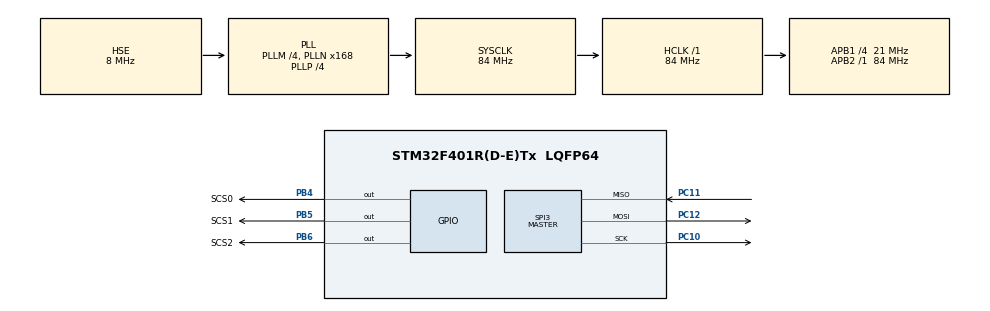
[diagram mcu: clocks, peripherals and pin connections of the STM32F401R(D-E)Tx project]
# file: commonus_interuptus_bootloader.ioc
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Dma.Request0=SPI3_TX
Dma.Request1=SPI3_RX
Dma.SPI3_RX.1.Direction=DMA_PERIPH_TO_MEMORY
Dma.SPI3_RX.1.FIFOMode=DMA_FIFOMODE_DISABLE
Dma.SPI3_RX.1.Instance=DMA1_Stream0
Dma.SPI3_RX.1.MemDataAlignment=DMA_MDATAALIGN_BYTE
Dma.SPI3_RX.1.MemInc=DMA_MINC_ENABLE
Dma.SPI3_RX.1.Mode=DMA_NORMAL
Dma.SPI3_RX.1.PeriphDataAlignment=DMA_PDATAALIGN_BYTE
Dma.SPI3_RX.1.PeriphInc=DMA_PINC_DISABLE
Dma.SPI3_RX.1.Priority=DMA_PRIORITY_LOW
Dma.SPI3_TX.0.Direction=DMA_MEMORY_TO_PERIPH
Dma.SPI3_TX.0.FIFOMode=DMA_FIFOMODE_DISABLE
Dma.SPI3_TX.0.Instance=DMA1_Stream5
Dma.SPI3_TX.0.MemDataAlignment=DMA_MDATAALIGN_BYTE
Dma.SPI3_TX.0.MemInc=DMA_MINC_ENABLE
Dma.SPI3_TX.0.Mode=DMA_NORMAL
Dma.SPI3_TX.0.PeriphDataAlignment=DMA_PDATAALIGN_BYTE
Dma.SPI3_TX.0.PeriphInc=DMA_PINC_DISABLE
Dma.SPI3_TX.0.Priority=DMA_PRIORITY_LOW
IWDG.Prescaler=IWDG_PRESCALER_64
Mcu.Family=STM32F4
Mcu.Name=STM32F401R(D-E)Tx
Mcu.Package=LQFP64
NVIC.DMA1_Stream0_IRQn=true\:0\:0\:false\:false\:true\:false
NVIC.DMA1_Stream5_IRQn=true\:0\:0\:false\:false\:true\:false
NVIC.PriorityGroup=NVIC_PRIORITYGROUP_4
PA13.Mode=Trace_Asynchronous_SW
PA13.Signal=SYS_JTMS-SWDIO
PA14.Mode=Trace_Asynchronous_SW
PA14.Signal=SYS_JTCK-SWCLK
PB3.Mode=Trace_Asynchronous_SW
PB3.Signal=SYS_JTDO-SWO
PB4.GPIO_Label=SCS0
PB4.PinState=GPIO_PIN_SET
PB4.Signal=GPIO_Output
PB5.GPIO_Label=SCS1
PB5.PinState=GPIO_PIN_SET
PB5.Signal=GPIO_Output
PB6.GPIO_Label=SCS2
PB6.PinState=GPIO_PIN_SET
PB6.Signal=GPIO_Output
PC10.Mode=Full_Duplex_Master
PC10.Signal=SPI3_SCK
PC11.Mode=Full_Duplex_Master
PC11.Signal=SPI3_MISO
PC12.Mode=Full_Duplex_Master
PC12.Signal=SPI3_MOSI
PC14-OSC32_IN.Mode=LSE-External-Oscillator
PC14-OSC32_IN.Signal=RCC_OSC32_IN
PC15-OSC32_OUT.Mode=LSE-External-Oscillator
PC15-OSC32_OUT.Signal=RCC_OSC32_OUT
PH0\ -\ OSC_IN.Mode=HSE-External-Oscillator
PH0\ -\ OSC_IN.Signal=RCC_OSC_IN
PH1\ -\ OSC_OUT.Mode=HSE-External-Oscillator
PH1\ -\ OSC_OUT.Signal=RCC_OSC_OUT
ProjectManager.HeapSize=0x200
ProjectManager.StackSize=0x400
ProjectManager.TargetToolchain=MDK-ARM V5
RCC.48MHZClocksFreq_Value=48000000
RCC.AHBFreq_Value=84000000
RCC.APB1CLKDivider=RCC_HCLK_DIV4
RCC.APB1Freq_Value=21000000
RCC.APB1TimFreq_Value=42000000
RCC.APB2Freq_Value=84000000
RCC.APB2TimFreq_Value=84000000
RCC.CortexFreq_Value=84000000
RCC.HCLKFreq_Value=84000000
RCC.HSE_VALUE=8000000
RCC.HSI_VALUE=16000000
RCC.PLLM=4
RCC.PLLN=168
RCC.PLLP=RCC_PLLP_DIV4
RCC.PLLQ=7
RCC.PLLSourceVirtual=RCC_PLLSOURCE_HSE
RCC.RCC_RTC_Clock_Source=RCC_RTCCLKSOURCE_LSE
RCC.RCC_RTC_Clock_SourceVirtual=RCC_RTCCLKSOURCE_LSE
RCC.SYSCLKFreq_VALUE=84000000
RCC.SYSCLKSource=RCC_SYSCLKSOURCE_PLLCLK
RCC.VCOOutputFreq_Value=336000000
SPI3.BaudRatePrescaler=SPI_BAUDRATEPRESCALER_16
SPI3.CRCCalculation=SPI_CRCCALCULATION_DISABLE
SPI3.Direction=SPI_DIRECTION_2LINES
SPI3.Mode=SPI_MODE_MASTER
SPI3.VirtualType=VM_MASTER
VP_IWDG_VS_IWDG.Mode=IWDG_Activate
VP_RTC_VS_RTC_Activate.Mode=RTC_Enabled
board=commonus_interuptus_bootloader

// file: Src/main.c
/**
  ******************************************************************************
  * @file           : main.c
  * @brief          : Main program body
  ******************************************************************************
  ** This notice applies to any and all portions of this file
  * that are not between comment pairs USER CODE BEGIN and
  * USER CODE END. Other portions of this file, whether
  * inserted by the user or by software development tools
  * are owned by their respective copyright owners.
  *
  * COPYRIGHT(c) 2020 STMicroelectronics
  *
  * Redistribution and use in source and binary forms, with or without modification,
  * are permitted provided that the following conditions are met:
  *   1. Redistributions of source code must retain the above copyright notice,
  *      this list of conditions and the following disclaimer.
  *   2. Redistributions in binary form must reproduce the above copyright notice,
  *      this list of conditions and the following disclaimer in the documentation
  *      and/or other materials provided with the distribution.
  *   3. Neither the name of STMicroelectronics nor the names of its contributors
  *      may be used to endorse or promote products derived from this software
  *      without specific prior written permission.
  *
  * THIS SOFTWARE IS PROVIDED BY THE COPYRIGHT HOLDERS AND CONTRIBUTORS "AS IS"
  * AND ANY EXPRESS OR IMPLIED WARRANTIES, INCLUDING, BUT NOT LIMITED TO, THE
  * IMPLIED WARRANTIES OF MERCHANTABILITY AND FITNESS FOR A PARTICULAR PURPOSE ARE
  * DISCLAIMED. IN NO EVENT SHALL THE COPYRIGHT HOLDER OR CONTRIBUTORS BE LIABLE
  * FOR ANY DIRECT, INDIRECT, INCIDENTAL, SPECIAL, EXEMPLARY, OR CONSEQUENTIAL
  * DAMAGES (INCLUDING, BUT NOT LIMITED TO, PROCUREMENT OF SUBSTITUTE GOODS OR
  * SERVICES; LOSS OF USE, DATA, OR PROFITS; OR BUSINESS INTERRUPTION) HOWEVER
  * CAUSED AND ON ANY THEORY OF LIABILITY, WHETHER IN CONTRACT, STRICT LIABILITY,
  * OR TORT (INCLUDING NEGLIGENCE OR OTHERWISE) ARISING IN ANY WAY OUT OF THE USE
  * OF THIS SOFTWARE, EVEN IF ADVISED OF THE POSSIBILITY OF SUCH DAMAGE.
  *
  ******************************************************************************
  */
#include "main.h"
#include "stm32f4xx_hal.h"

/* USER CODE BEGIN Includes */
#include <stdio.h>
#include "stm32f4xx_hal_flash.h"
#include "reset_util.h"
#include "ext_flash.h"
#include "ota.h"
#include "md5.h"
#include "util.h"

#define GET_RESET_CAUSE(n, a) ((a[n>>3] >> (n&0x7))&0xF)
typedef struct{
	uint32_t init;
	uint32_t reset_time[16];
	uint32_t reset_cause[2];
	uint8_t idx;
}RTC_backup_t;

/* USER CODE END Includes */

IWDG_HandleTypeDef hiwdg;

RTC_HandleTypeDef hrtc;

SPI_HandleTypeDef hspi3;
DMA_HandleTypeDef hdma_spi3_tx;
DMA_HandleTypeDef hdma_spi3_rx;

/* USER CODE BEGIN PV */
/* Private variables ---------------------------------------------------------*/
//unsigned int bootldr_info[4] __attribute__((at(0x20017ff0)));
//#define PORTBASE 0x20017F00
//unsigned int volatile * const port = (unsigned int *) PORTBASE;
uint8_t sFlashBuffer[SFLASH_BUFFER_SIZE];
int debug_int;
ota_header_t *header;
ota_header_t *backup_header;

static RTC_backup_t *backup;

/* USER CODE END PV */

void SystemClock_Config(void);
static void MX_GPIO_Init(void);
static void MX_DMA_Init(void);
static void MX_SPI3_Init(void);
static void MX_RTC_Init(void);
static void MX_IWDG_Init(void);

static void bootToApp(uint32_t);

/* USER CODE BEGIN PFP */
/* Private function prototypes -----------------------------------------------*/

void log_reset(reset_cause_t cause, RTC_backup_t *backup);
bool log_get_reset(const RTC_backup_t *backup, uint32_t *time, uint8_t* cause, uint8_t idx);
void jump_to_app(int address);

/* USER CODE END PFP */

int main(void)
{
  /* USER CODE BEGIN 1 */

	SCB->VTOR;

	CASSERT(sizeof(RTC_backup_t) <= 80, main_c); //RTC_backup_t must fit in the backup registers
  /* USER CODE END 1 */

  /* MCU Configuration----------------------------------------------------------*/

  /* Reset of all peripherals, Initializes the Flash interface and the Systick. */
  HAL_Init();

  /* Configure the system clock */
  SystemClock_Config();

  /* USER CODE BEGIN SysInit */
	reset_cause_t reset_cause = reset_cause_get(); //get last reset reason;

	//reset_status->reset_time[reset_status->ptr&0xF] =

	printf(">INFO Last reset cause: %s\n", reset_cause_get_name(reset_cause));

	HAL_Delay(500);

  /* USER CODE END SysInit */

  /* Initialize all configured peripherals */
  MX_GPIO_Init();
  MX_DMA_Init();
  MX_SPI3_Init();
  MX_RTC_Init();
  MX_IWDG_Init();
  /* USER CODE BEGIN 2 */

	backup = (RTC_backup_t*)(RTC_BASE+0x50);//location of backup registers
	//memset(backup, 0, 80);
//	backup->reset_cause[0] = 0x31;
//	backup->reset_cause[1] = 0x79;

	if(backup->init == 0x32F2) printf(">INFO RTC initialized.\n");
	else printf(">WARN RTC uninitialized.\n");

	backup->reset_time[backup->idx & 0xF] = getTime();
	log_reset(reset_cause, backup);

	bool we_have_a_problem = false;

	switch(reset_cause){
		case RESET_CAUSE_UNKNOWN:
			break;
		case RESET_CAUSE_LOW_POWER_RESET:
			break;
		case RESET_CAUSE_WINDOW_WATCHDOG_RESET:
		case RESET_CAUSE_INDEPENDENT_WATCHDOG_RESET:
		{
			//check if last 10 resets were from watchdog timeout and how frequent
			we_have_a_problem = true;
			int i;
			int idx = backup->idx;
			for(i = 0; i < 4; i++)
			{
				uint32_t time;
				uint8_t cause;
				if(log_get_reset(backup, &time, &cause, idx)){
					if((cause&0x7) == RESET_CAUSE_WINDOW_WATCHDOG_RESET || (cause&0x7) == RESET_CAUSE_INDEPENDENT_WATCHDOG_RESET){
						if(getTime() - time > 86400) we_have_a_problem = false;
					} else {
						we_have_a_problem = false;
						break;
					}
				} else {
					we_have_a_problem = false;
					break;
				}

				idx = (idx + 0xF) & 0xF;
			}
			if(we_have_a_problem){
				printf(">CRIT We really have a problem with these watchdog resets.\n");
				//TODO: do something about the watchdog resets;

			}

			break;
		}
		case RESET_CAUSE_SOFTWARE_RESET:
			break;
		case RESET_CAUSE_POWER_ON_POWER_DOWN_RESET:
			break;
		case RESET_CAUSE_EXTERNAL_RESET_PIN_RESET:
			break;
		case RESET_CAUSE_BROWNOUT_RESET:
			break;
	}

	uint8_t md5_sum[16];
	backup_header = (ota_header_t *)(BACKUP_APPLICATION_HEADER_ADDRESS);
	md5((void*) BACKUP_APPLICATION_ADDRESS, backup_header->header.size, (uint32_t *) md5_sum);
	printf(">INFO Checking backup firmware.\n");
	bool backup_firmware_valid = !memcmp(md5_sum, backup_header->header.md5, 16);
	if(backup_firmware_valid) printf(">INFO Backup firmware valid.\n");
	else printf(">CRIT Backup firmware corrupt!!!\n");

	printf(">INFO Checking OTA slot.\n");
	bool ota_valid = ota_check_md5();
	if(ota_valid) printf(">INFO OTA valid.\n");
	bool ota_ready = ota_is_ready();
	if(ota_ready) printf(">INFO OTA Ready.\n");

	HAL_Delay(100);

	if(we_have_a_problem){//we have a serious problem with watchdog timeouts so we need to do stuff about it.
		bool okay_now_we_are_screwed = false;
		if(!backup_firmware_valid) okay_now_we_are_screwed = true;

		if(okay_now_we_are_screwed) goto SEPPUKU; //we brought dishonor to ourselves and no longer have reason for living.
		else {

			printf(">INFO Jumping to backup application\n");
			HAL_Delay(100 );

			jump_to_app(BACKUP_APPLICATION_ADDRESS);

		}

	}

	if(ota_valid && ota_ready){
		printf(">INFO Performing OTA install.\n");
		HAL_FLASH_Unlock();
		FLASH_EraseInitTypeDef EraseInitStruct;
		uint32_t SectorError;
		EraseInitStruct.TypeErase = FLASH_TYPEERASE_SECTORS;
		EraseInitStruct.VoltageRange = FLASH_VOLTAGE_RANGE_3;
		EraseInitStruct.Sector = FLASH_SECTOR_1; //Specify sector number
		EraseInitStruct.NbSectors = 5; // 5 sectors address range 0x08004000 - 0x0803FFFF
		printf(">INFO Erasing FLASH sectors 1 - 5\n");
		HAL_Delay(100);
		if(HAL_FLASHEx_Erase(&EraseInitStruct, &SectorError) != HAL_OK) {
			printf(">ERR Erase error! Sector error: %d\n", SectorError);
			HAL_Delay(100);
		} else {
			printf(">INFO copying firmware from external flash.\n");
			HAL_Delay(100);
			uint32_t offset = 0;
			uint32_t data;
			ota_header_t ota_header;

			AT25SF041_init();
			AT25SF041_read(ADDRESS_FIRMWARE_OTA_HEADER, ota_header.data, OTA_HEADER_SIZE);
			for(; offset < ota_header.header.size; offset += 4){ //copy the code two words (8 bytes) at a time
				if(!(offset % SFLASH_BUFFER_SIZE)) { //read data from external flash when the address offset is a multiple of the buffer size.

					printf(">INFO copying next block\n");
					AT25SF041_read(ADDRESS_FIRMWARE_OTA + offset, sFlashBuffer, SFLASH_BUFFER_SIZE);
				}
				data = *(uint32_t*)(sFlashBuffer + offset%SFLASH_BUFFER_SIZE);
				HAL_FLASH_Program(FLASH_TYPEPROGRAM_WORD, APPLICATION_ADDRESS + offset, data);
			}
			AT25SF041_powerDown();
			ota_header.header.ready_flag = 0xFF; //make sure this is unprogramed;
			printf(">INFO copying firmware header. MD5 = ");
			HAL_Delay(100);
			int i = 0;
			for(;i<16;i++){
				printf("%02x", ota_header.header.md5[i]);
			}
			printf("\n");
			HAL_Delay(100);
			for(offset = 0; offset < OTA_HEADER_SIZE; offset +=4){
				data = *(uint32_t *)(ota_header.data + offset);
				HAL_FLASH_Program(FLASH_TYPEPROGRAM_WORD, APPLICATION_HEADER_ADDRESS + offset, data);
			}

			HAL_FLASH_Lock();

		}
	}

	//check firmware section
	header = (ota_header_t *)(APPLICATION_HEADER_ADDRESS);
	md5((void*) APPLICATION_ADDRESS, header->header.size, (uint32_t *) md5_sum);
	printf(">INFO Checking firmware.\n");
	bool firmware_valid = !memcmp(md5_sum, header->header.md5, 16);
	if(firmware_valid){
		printf(">INFO Firmware valid.\n");
		printf(">INFO Jumping to application\n");
		HAL_Delay(100 );

		jump_to_app(APPLICATION_ADDRESS);
	}
	else{
		printf(">CRIT Firmware corrupt!!!\n");
		bool okay_now_we_are_screwed = false;
		if(!backup_firmware_valid) okay_now_we_are_screwed = true;

		if(okay_now_we_are_screwed) goto SEPPUKU; //we brought dishonor to ourselves and no longer have reason for living.

		printf(">INFO Jumping to backup application\n");
		HAL_Delay(100 );
		jump_to_app(BACKUP_APPLICATION_ADDRESS);
	}

  /* USER CODE END 2 */

  /* Infinite loop */
  /* USER CODE BEGIN WHILE */

	printf("Why are we here!!! \nOH MAN I AM NOT GOOD WITH COMPUTER. PLZ TO HELP"); //there is literally no reason for this to ever execute.

	SEPPUKU:

	printf("Commiting seppuku\n");

	while (1) //this should never execute
	{
		HAL_Delay(1000 );
  /* USER CODE END WHILE */

	}

}

void SystemClock_Config(void)
{

  RCC_OscInitTypeDef RCC_OscInitStruct;
  RCC_ClkInitTypeDef RCC_ClkInitStruct;
  RCC_PeriphCLKInitTypeDef PeriphClkInitStruct;

    /**Configure the main internal regulator output voltage
    */
  __HAL_RCC_PWR_CLK_ENABLE();

  __HAL_PWR_VOLTAGESCALING_CONFIG(PWR_REGULATOR_VOLTAGE_SCALE2);

    /**Initializes the CPU, AHB and APB busses clocks
    */
  RCC_OscInitStruct.OscillatorType = RCC_OSCILLATORTYPE_LSI|RCC_OSCILLATORTYPE_HSE
                              |RCC_OSCILLATORTYPE_LSE;
  RCC_OscInitStruct.HSEState = RCC_HSE_ON;
  RCC_OscInitStruct.LSEState = RCC_LSE_ON;
  RCC_OscInitStruct.LSIState = RCC_LSI_ON;
  RCC_OscInitStruct.PLL.PLLState = RCC_PLL_ON;
  RCC_OscInitStruct.PLL.PLLSource = RCC_PLLSOURCE_HSE;
  RCC_OscInitStruct.PLL.PLLM = 4;
  RCC_OscInitStruct.PLL.PLLN = 168;
  RCC_OscInitStruct.PLL.PLLP = RCC_PLLP_DIV4;
  RCC_OscInitStruct.PLL.PLLQ = 7;
  if (HAL_RCC_OscConfig(&RCC_OscInitStruct) != HAL_OK)
  {
    _Error_Handler(__FILE__, __LINE__);
  }

    /**Initializes the CPU, AHB and APB busses clocks
    */
  RCC_ClkInitStruct.ClockType = RCC_CLOCKTYPE_HCLK|RCC_CLOCKTYPE_SYSCLK
                              |RCC_CLOCKTYPE_PCLK1|RCC_CLOCKTYPE_PCLK2;
  RCC_ClkInitStruct.SYSCLKSource = RCC_SYSCLKSOURCE_PLLCLK;
  RCC_ClkInitStruct.AHBCLKDivider = RCC_SYSCLK_DIV1;
  RCC_ClkInitStruct.APB1CLKDivider = RCC_HCLK_DIV4;
  RCC_ClkInitStruct.APB2CLKDivider = RCC_HCLK_DIV1;

  if (HAL_RCC_ClockConfig(&RCC_ClkInitStruct, FLASH_LATENCY_2) != HAL_OK)
  {
    _Error_Handler(__FILE__, __LINE__);
  }

  PeriphClkInitStruct.PeriphClockSelection = RCC_PERIPHCLK_RTC;
  PeriphClkInitStruct.RTCClockSelection = RCC_RTCCLKSOURCE_LSE;
  if (HAL_RCCEx_PeriphCLKConfig(&PeriphClkInitStruct) != HAL_OK)
  {
    _Error_Handler(__FILE__, __LINE__);
  }

    /**Configure the Systick interrupt time
    */
  HAL_SYSTICK_Config(HAL_RCC_GetHCLKFreq()/1000);

    /**Configure the Systick
    */
  HAL_SYSTICK_CLKSourceConfig(SYSTICK_CLKSOURCE_HCLK);

  /* SysTick_IRQn interrupt configuration */
  HAL_NVIC_SetPriority(SysTick_IRQn, 0, 0);
}

/* IWDG init function */
static void MX_IWDG_Init(void)
{

  hiwdg.Instance = IWDG;
  hiwdg.Init.Prescaler = IWDG_PRESCALER_64;
  hiwdg.Init.Reload = 4095;
  if (HAL_IWDG_Init(&hiwdg) != HAL_OK)
  {
    _Error_Handler(__FILE__, __LINE__);
  }

}

/* RTC init function */
static void MX_RTC_Init(void)
{

    /**Initialize RTC Only
    */
  hrtc.Instance = RTC;
  hrtc.Init.HourFormat = RTC_HOURFORMAT_24;
  hrtc.Init.AsynchPrediv = 127;
  hrtc.Init.SynchPrediv = 255;
  hrtc.Init.OutPut = RTC_OUTPUT_DISABLE;
  hrtc.Init.OutPutPolarity = RTC_OUTPUT_POLARITY_HIGH;
  hrtc.Init.OutPutType = RTC_OUTPUT_TYPE_OPENDRAIN;
  if (HAL_RTC_Init(&hrtc) != HAL_OK)
  {
    _Error_Handler(__FILE__, __LINE__);
  }

}

/* SPI3 init function */
static void MX_SPI3_Init(void)
{

  /* SPI3 parameter configuration*/
  hspi3.Instance = SPI3;
  hspi3.Init.Mode = SPI_MODE_MASTER;
  hspi3.Init.Direction = SPI_DIRECTION_2LINES;
  hspi3.Init.DataSize = SPI_DATASIZE_8BIT;
  hspi3.Init.CLKPolarity = SPI_POLARITY_LOW;
  hspi3.Init.CLKPhase = SPI_PHASE_1EDGE;
  hspi3.Init.NSS = SPI_NSS_SOFT;
  hspi3.Init.BaudRatePrescaler = SPI_BAUDRATEPRESCALER_16;
  hspi3.Init.FirstBit = SPI_FIRSTBIT_MSB;
  hspi3.Init.TIMode = SPI_TIMODE_DISABLE;
  hspi3.Init.CRCCalculation = SPI_CRCCALCULATION_DISABLE;
  hspi3.Init.CRCPolynomial = 10;
  if (HAL_SPI_Init(&hspi3) != HAL_OK)
  {
    _Error_Handler(__FILE__, __LINE__);
  }

}

static void MX_DMA_Init(void)
{
  /* DMA controller clock enable */
  __HAL_RCC_DMA1_CLK_ENABLE();

  /* DMA interrupt init */
  /* DMA1_Stream0_IRQn interrupt configuration */
  HAL_NVIC_SetPriority(DMA1_Stream0_IRQn, 0, 0);
  HAL_NVIC_EnableIRQ(DMA1_Stream0_IRQn);
  /* DMA1_Stream5_IRQn interrupt configuration */
  HAL_NVIC_SetPriority(DMA1_Stream5_IRQn, 0, 0);
  HAL_NVIC_EnableIRQ(DMA1_Stream5_IRQn);

}

/** Configure pins as
        * Analog
        * Input
        * Output
        * EVENT_OUT
        * EXTI
*/
static void MX_GPIO_Init(void)
{

  GPIO_InitTypeDef GPIO_InitStruct;

  /* GPIO Ports Clock Enable */
  __HAL_RCC_GPIOC_CLK_ENABLE();
  __HAL_RCC_GPIOH_CLK_ENABLE();
  __HAL_RCC_GPIOA_CLK_ENABLE();
  __HAL_RCC_GPIOB_CLK_ENABLE();

  /*Configure GPIO pin Output Level */
  HAL_GPIO_WritePin(GPIOB, SCS0_Pin|SCS1_Pin|SCS2_Pin, GPIO_PIN_SET);

  /*Configure GPIO pins : SCS0_Pin SCS1_Pin SCS2_Pin */
  GPIO_InitStruct.Pin = SCS0_Pin|SCS1_Pin|SCS2_Pin;
  GPIO_InitStruct.Mode = GPIO_MODE_OUTPUT_PP;
  GPIO_InitStruct.Pull = GPIO_NOPULL;
  GPIO_InitStruct.Speed = GPIO_SPEED_FREQ_LOW;
  HAL_GPIO_Init(GPIOB, &GPIO_InitStruct);

}

/* USER CODE BEGIN 4 */

void jump_to_app(int address)
{
	void (*Jump_To_Application)(void);

    HAL_RCC_DeInit();
	//HAL_DeInit();

    SysTick->CTRL = 0;
    SysTick->LOAD = 0;
    SysTick->VAL = 0;

	//SYSCFG->MEMRMP = 0x01;
	__disable_irq();
	uint32_t JumpAddress = *(__IO uint32_t*) (address+4);
	Jump_To_Application = (void (*)(void)) JumpAddress;
	SCB->VTOR = address;
	/*if( CONTROL_SPSEL_Msk & __get_CONTROL( ) )
	{  // MSP is not active
		__set_MSP( __get_PSP( ) ) ;
		__set_CONTROL( __get_CONTROL( ) & ~CONTROL_SPSEL_Msk ) ;
	}*/
	__set_MSP(*(__IO uint32_t*) address);
	Jump_To_Application();

}

int __io_putchar(int ch)
{
	ITM_SendChar(ch);
	return ch;
}

int _write(int file, char *ptr, int len)
{
	int DataIdx;
	for(DataIdx = 0; DataIdx < len; DataIdx ++){
		__io_putchar(*ptr++);
	}
	return len;
}

void log_reset(reset_cause_t cause, RTC_backup_t *backup)
{
	uint8_t n = backup->idx & 0xF;
	backup->reset_cause[n>>3] = (backup->reset_cause[n>>3] & ~(0xF << ((n&0x7)<<2))) | ((cause | 0x8) << ((n&0x7)<<2));
	backup->idx = (backup->idx + 1)&0xF;
}

bool log_get_reset(const RTC_backup_t *backup, uint32_t *time, uint8_t* cause, uint8_t idx)
{
	bool result = false;

	*cause = (backup->reset_cause[idx>>3]>>((idx&0x7)<<2)) & 0xF;
	*time = backup->reset_time[idx&0xF];

	result = (*cause & 0x8) != 0;

	return result;
}

/* USER CODE END 4 */

void _Error_Handler(char *file, int line)
{
  while(1)
  {
  }
}

/************************ (C) COPYRIGHT STMicroelectronics *****END OF FILE****/
